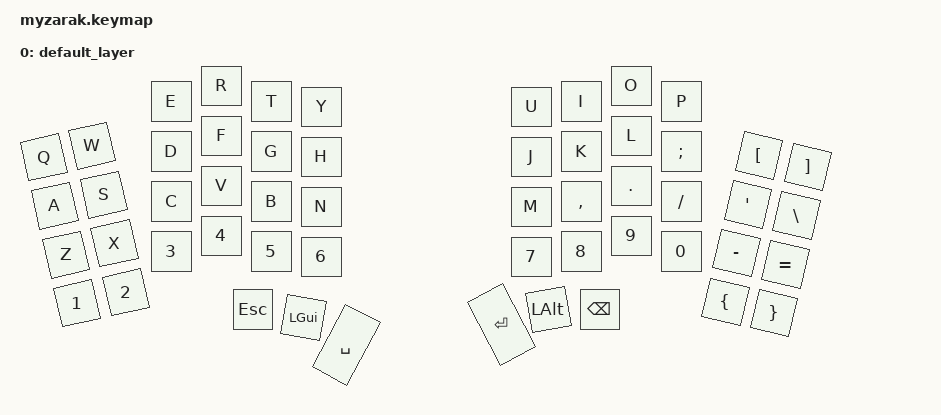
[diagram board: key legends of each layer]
// This file was generated from a template. Edit it to match your keyboard.
// See https://zmk.dev/docs/development/hardware-integration/new-shield for more instructions.

#include <behaviors.dtsi>
#include <dt-bindings/zmk/keys.h>

/ {
    // Define a default keymap here.
    // See https://zmk.dev/docs/development/hardware-integration/new-shield#default-keymap.
    keymap {
        compatible = "zmk,keymap";

        default_layer {
            bindings = <
&kp Q    &kp W    &kp E    &kp R     &kp T    &kp Y      &kp U    &kp I     &kp O    &kp P     &kp LBKT  &kp RBKT
&kp A    &kp S    &kp D    &kp F     &kp G    &kp H      &kp J    &kp K     &kp L    &kp SEMI  &kp SQT   &kp BSLH
&kp Z    &kp X    &kp C    &kp V     &kp B    &kp N      &kp M    &kp COMMA &kp DOT  &kp FSLH  &kp MINUS &kp EQUAL
&kp N1   &kp N2   &kp N3   &kp N4    &kp N5   &kp N6     &kp N7   &kp N8    &kp N9   &kp N0    &kp LBRC  &kp RBRC
                  &kp ESC  &kp LGUI  &kp SPACE           &kp RET  &kp LALT  &kp BSPC
            >;
        };
    };
};
